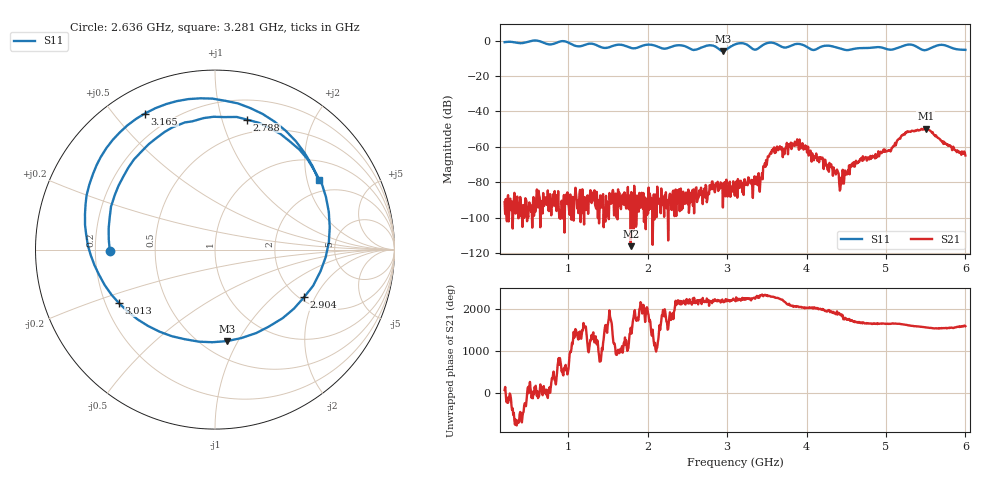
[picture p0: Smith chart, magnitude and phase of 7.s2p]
! NanoVNA-App
! Date: 2024-06-25 16:06:22
! Start: 200MHz Stop: 6GHz Points: 801
! S-Parameter data: F S11 S21 S12 S22
# Hz S RI R 50
!  Frequency  S11_Real  S11_Imag  S21_Real  S21_Imag  S12_Real  S12_Imag  S22_Real  S22_Imag
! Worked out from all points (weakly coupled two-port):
!   801 points, 200 MHz to 6 GHz, reference 50 ohm
!   highest |S21| = -49.64 dB at 5.5 GHz (marker M1); lowest = -116.2 dB at 1.788 GHz (marker M2)
!   lowest |S11| = -5.8 dB at 2.948 GHz (marker M3), VSWR 3.12, Z = 32.6 - j45.1 ohm
!   |S11| at or under -10 dB: nowhere
!   S12 and S22 are empty: the file has one direction only
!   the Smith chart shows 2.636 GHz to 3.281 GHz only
!   S11 on the Smith chart (normalised r, x): 2.636 GHz: 0.26, -0.01; 2.788 GHz: 0.37, +1.20; 2.904 GHz: 2.11, -1.64; 3.013 GHz: 0.26, -0.24; 3.165 GHz: 0.11, +0.60; 3.281 GHz: 1.59, +2.36
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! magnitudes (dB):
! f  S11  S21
! 200 MHz  -0.8  -91.2
! 1.171 GHz  -2.9  -92.6
! 1.788 GHz  -4.0  -116.2
! 2.136 GHz  -3.5  -92.1
! 2.636 GHz  -4.6  -88.8
! 2.788 GHz  -2.5  -82.3
! 2.904 GHz  -5.0  -81.6
! 2.948 GHz  -5.8  -94.3
! 3.013 GHz  -4.3  -87.5
! 3.1 GHz  -2.1  -87.7
! 3.165 GHz  -1.4  -80.5
! 3.281 GHz  -3.2  -79.6
! 3.419 GHz  -3.4  -79.6
! 3.607 GHz  -1.5  -61.2
! 3.883 GHz  -1.7  -55.8
! 4.072 GHz  -5.1  -63.6
! 4.441 GHz  -4.6  -81.0
! 4.681 GHz  -4.1  -67.4
! 5.036 GHz  -5.0  -61.9
! 5.246 GHz  -2.5  -51.9
! 5.5 GHz  -5.3  -49.6
! 6 GHz  -5.2  -64.9
